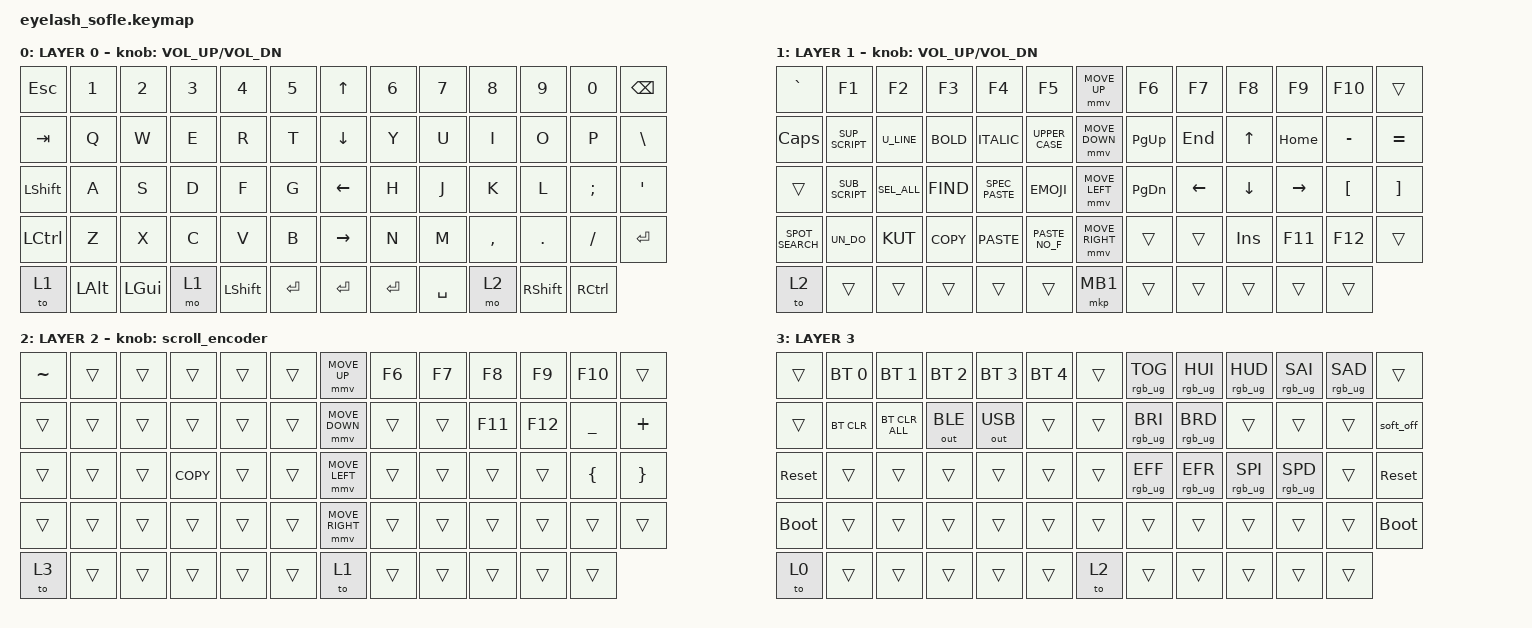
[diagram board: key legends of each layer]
#define ZMK_POINTING_DEFAULT_MOVE_VAL 1200  // 600
#define ZMK_POINTING_DEFAULT_SCRL_VAL 25   // 10

#include <input/processors.dtsi>
#include <zephyr/dt-bindings/input/input-event-codes.h>
#include <behaviors.dtsi>
#include <dt-bindings/zmk/bt.h>
#include <dt-bindings/zmk/keys.h>
#include <dt-bindings/zmk/outputs.h>
#include <dt-bindings/zmk/pointing.h>
#include <dt-bindings/zmk/rgb.h>

&mmv_input_listener { input-processors = <&zip_xy_scaler 2 1>; };

&msc_input_listener { input-processors = <&zip_scroll_scaler 2 1>; };

&msc {
    acceleration-exponent = <1>;      // 0
    time-to-max-speed-ms = <100>;       // 300
    delay-ms = <0>;                   // 0
};

&mmv {
    time-to-max-speed-ms = <500>;
    acceleration-exponent = <1>;
    trigger-period-ms = <16>;
};

/ {
    scroll_encoder: scroll_encoder {
        compatible = "zmk,behavior-sensor-rotate";
        #sensor-binding-cells = <0>;
        bindings = <&msc SCRL_DOWN>, <&msc SCRL_UP>;

        tap-ms = <100>;
    };

    macros {
        COPY: control {
            compatible = "zmk,behavior-macro";
            #binding-cells = <0>;
            bindings = <&kp LG(C)>;
            label = "CONTROL";
        };

        PASTE: PASTE {
            compatible = "zmk,behavior-macro";
            #binding-cells = <0>;
            bindings = <&kp LG(V)>;
            label = "PASTE";
        };

        UN_DO: UNDO {
            compatible = "zmk,behavior-macro";
            #binding-cells = <0>;
            bindings = <&kp LG(Z)>;
            label = "UNDO";
        };

        REDO: REDO {
            compatible = "zmk,behavior-macro";
            #binding-cells = <0>;
            bindings = <&kp LG(Y)>;
            label = "REDO";
        };

        KUT: CUT {
            compatible = "zmk,behavior-macro";
            #binding-cells = <0>;
            bindings = <&kp LG(X)>;
            label = "CUT";
        };

        PASTE_NO_F: PASTE_NO_F {
            compatible = "zmk,behavior-macro";
            #binding-cells = <0>;
            bindings = <&kp LG(LS(V))>;
            label = "PASTE_NO_F";
        };

        SPEC_PASTE: SPEC_PASTE {
            compatible = "zmk,behavior-macro";
            #binding-cells = <0>;
            bindings = <&kp LG(LS(LA(V)))>;
            label = "SPEC_PASTE";
        };

        SEL_ALL: SEL_ALL {
            compatible = "zmk,behavior-macro";
            #binding-cells = <0>;
            bindings = <&kp LG(A)>;
            label = "SEL_ALL";
        };

        PRT_SCRN: PRT_SCRN {
            compatible = "zmk,behavior-macro";
            #binding-cells = <0>;
            bindings = <&kp LG(LS(N4))>;
            label = "PRT_SCRN";
        };

        HOM: HOME {
            compatible = "zmk,behavior-macro";
            #binding-cells = <0>;
            bindings = <&kp LC(A)>;
            label = "HOME";
        };

        ND: END {
            compatible = "zmk,behavior-macro";
            #binding-cells = <0>;
            bindings = <&kp LC(E)>;
            label = "END";
        };

        FIND: FIND {
            compatible = "zmk,behavior-macro";
            #binding-cells = <0>;
            bindings = <&kp LG(F)>;
            label = "FIND";
        };

        EMOJI: EMOJI {
            compatible = "zmk,behavior-macro";
            #binding-cells = <0>;
            bindings = <&kp LG(LC(SPACE))>;
            label = "EMOJI";
        };

        SPOT_SEARCH: SPOT_SEARCH {
            compatible = "zmk,behavior-macro";
            #binding-cells = <0>;
            bindings = <&kp LG(SPACE)>;
            label = "SPOT_SEARCH";
        };

        BOLD: BOLD {
            compatible = "zmk,behavior-macro";
            #binding-cells = <0>;
            bindings = <&kp LG(B)>;
            label = "BOLD";
        };

        ITALIC: ITALIC {
            compatible = "zmk,behavior-macro";
            #binding-cells = <0>;
            bindings = <&kp LG(I)>;
            label = "ITALIC";
        };

        U_LINE: U_LINE {
            compatible = "zmk,behavior-macro";
            #binding-cells = <0>;
            bindings = <&kp LG(U)>;
            label = "U_LINE";
        };

        UPPER_CASE: UPPER_CASE {
            compatible = "zmk,behavior-macro";
            #binding-cells = <0>;
            bindings = <&kp LG(LA(C))>;
            label = "UPPER_CASE";
        };

        SUP_SCRIPT: UP_CASE {
            compatible = "zmk,behavior-macro";
            #binding-cells = <0>;
            bindings = <&kp LG(LC(PLUS))>;
            label = "UP_CASE";
        };

        SUB_SCRIPT: LO_CASE {
            compatible = "zmk,behavior-macro";
            #binding-cells = <0>;
            bindings = <&kp LG(LC(MINUS))>;
            label = "LO_CASE";
        };
    };

    behaviors {
    };

    keymap {
        compatible = "zmk,keymap";

        layer_0 {
            bindings = <
&kp ESC           &kp N1        &kp N2        &kp N3  &kp N4          &kp N5     &kp UP_ARROW     &kp N6     &kp N7     &kp N8     &kp N9           &kp N0             &kp BACKSPACE
&kp TAB           &kp Q         &kp W         &kp E   &kp R           &kp T      &kp DOWN_ARROW   &kp Y      &kp U      &kp I      &kp O            &kp P              &kp BSLH
&kp LEFT_SHIFT    &kp A         &kp S         &kp D   &kp F           &kp G      &kp LEFT_ARROW   &kp H      &kp J      &kp K      &kp L            &kp SEMI           &kp APOS
&kp LEFT_CONTROL  &kp Z         &kp X         &kp C   &kp V           &kp B      &kp RIGHT_ARROW  &kp N      &kp M      &kp COMMA  &kp DOT          &kp FSLH           &kp ENTER
&to 1             &kp LEFT_ALT  &kp LEFT_GUI  &mo 1   &kp LEFT_SHIFT  &kp RET    &kp ENTER        &kp ENTER  &kp SPACE  &mo 2      &kp RIGHT_SHIFT  &kp RIGHT_CONTROL
            >;

            sensor-bindings = <&inc_dec_kp C_VOL_UP C_VOL_DN>;
            display-name = "LAYER 0";
        };

        layer_1 {
            bindings = <
&kp GRAVE     &kp F1       &kp F2    &kp F3  &kp F4       &kp F5         &mmv MOVE_UP     &kp F6     &kp F7    &kp F8      &kp F9     &kp F10           &trans
&kp CAPS      &SUP_SCRIPT  &U_LINE   &BOLD   &ITALIC      &UPPER_CASE    &mmv MOVE_DOWN   &kp PG_UP  &kp END   &kp UP      &kp HOME   &kp MINUS         &kp EQUAL
&trans        &SUB_SCRIPT  &SEL_ALL  &FIND   &SPEC_PASTE  &EMOJI         &mmv MOVE_LEFT   &kp PG_DN  &kp LEFT  &kp DOWN    &kp RIGHT  &kp LEFT_BRACKET  &kp RIGHT_BRACKET
&SPOT_SEARCH  &UN_DO       &KUT      &COPY   &PASTE       &PASTE_NO_F    &mmv MOVE_RIGHT  &trans     &trans    &kp INSERT  &kp F11    &kp F12           &trans
&to 2         &trans       &trans    &trans  &trans       &trans         &mkp MB1         &trans     &trans    &trans      &trans     &trans
            >;

            display-name = "LAYER 1";
            sensor-bindings = <&inc_dec_kp C_VOL_UP C_VOL_DN>;
        };

        layer_2 {
            bindings = <
&kp TILDE  &trans  &trans  &trans  &trans  &trans    &mmv MOVE_UP     &kp F6  &kp F7  &kp F8   &kp F9   &kp F10    &trans
&trans     &trans  &trans  &trans  &trans  &trans    &mmv MOVE_DOWN   &trans  &trans  &kp F11  &kp F12  &kp UNDER  &kp PLUS
&trans     &trans  &trans  &COPY   &trans  &trans    &mmv MOVE_LEFT   &trans  &trans  &trans   &trans   &kp LBRC   &kp RBRC
&trans     &trans  &trans  &trans  &trans  &trans    &mmv MOVE_RIGHT  &trans  &trans  &trans   &trans   &trans     &trans
&to 3      &trans  &trans  &trans  &trans  &trans    &to 1            &trans  &trans  &trans   &trans   &trans
            >;

            sensor-bindings = <&scroll_encoder>;
            label = "LAYER 2";
        };

        layer_3 {
            bindings = <
&trans       &bt BT_SEL 0  &bt BT_SEL 1    &bt BT_SEL 2  &bt BT_SEL 3  &bt BT_SEL 4    &trans  &rgb_ug RGB_TOG  &rgb_ug RGB_HUI  &rgb_ug RGB_HUD  &rgb_ug RGB_SAI  &rgb_ug RGB_SAD  &trans
&trans       &bt BT_CLR    &bt BT_CLR_ALL  &out OUT_BLE  &out OUT_USB  &trans          &trans  &rgb_ug RGB_BRI  &rgb_ug RGB_BRD  &trans           &trans           &trans           &soft_off
&sys_reset   &trans        &trans          &trans        &trans        &trans          &trans  &rgb_ug RGB_EFF  &rgb_ug RGB_EFR  &rgb_ug RGB_SPI  &rgb_ug RGB_SPD  &trans           &sys_reset
&bootloader  &trans        &trans          &trans        &trans        &trans          &trans  &trans           &trans           &trans           &trans           &trans           &bootloader
&to 0        &trans        &trans          &trans        &trans        &trans          &to 2   &trans           &trans           &trans           &trans           &trans
            >;

            label = "LAYER 3";
        };
    };
};
